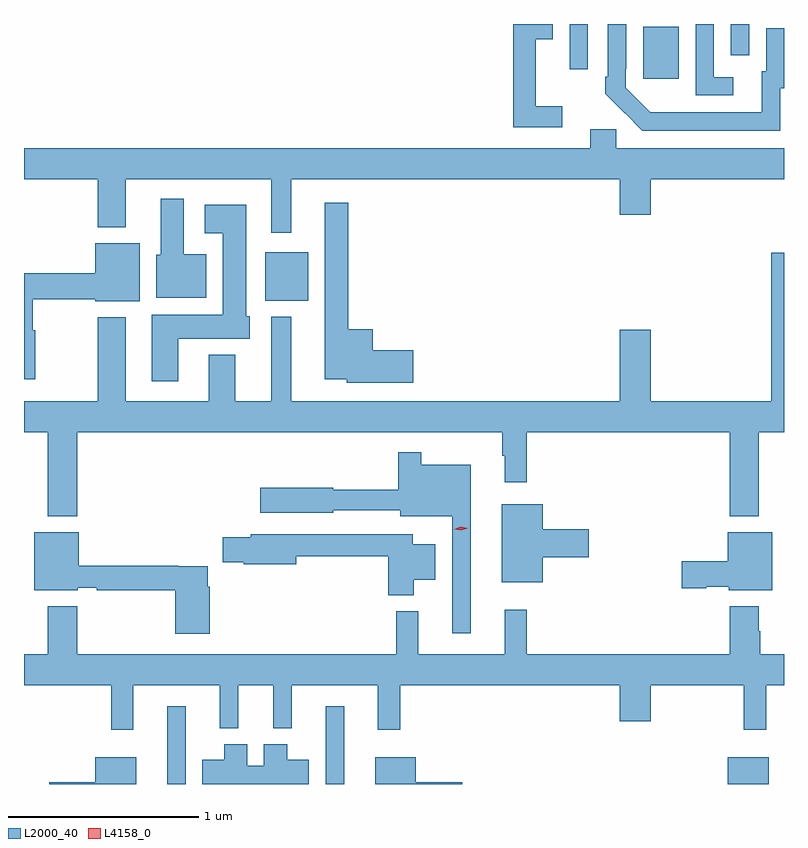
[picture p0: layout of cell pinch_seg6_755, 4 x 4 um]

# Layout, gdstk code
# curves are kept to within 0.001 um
import gdstk
lib = gdstk.Library(unit=1e-6, precision=1e-09)
def R(c, l, rs):  # rectangles x0, y0, x1, y1
    for r in rs: c.add(gdstk.rectangle(r[:2], r[2:], *l))
def P(c, l, *ps):  # polygons
    for p in ps: c.add(gdstk.Polygon(p, *l))
L2000_40 = (2000, 40)
L4158_0 = (4158, 0)

pinch_seg6_755 = lib.new_cell('pinch_seg6_755')
R(pinch_seg6_755, L2000_40, [(306.482,986.777,306.579,987.187), (307.317,986.777,307.414,987.187), (309.434,986.777,309.649,986.917), (306.998,989.321,307.225,989.575), (308.987,990.489,309.175,990.763), (308.601,990.54,308.697,990.777), (309.45,990.612,309.546,990.777)])
P(pinch_seg6_755, L2000_40, [(309.463,990.498),(309.36,990.498),(309.36,990.777),(309.264,990.777),(309.264,990.402),(309.463,990.402)],
  [(308.563,990.343),(308.423,990.343),(308.423,990.698),(308.512,990.698),(308.512,990.777),(308.305,990.777),(308.305,990.234),(308.563,990.234)],
  [(309.708,990.438),(309.729,990.438),(309.729,990.754),(309.635,990.754),(309.635,990.528),(309.611,990.528),(309.611,990.312),(309.024,990.313),(308.895,990.441),(308.895,990.541),(308.898,990.541),(308.898,990.777),(308.802,990.777),(308.802,990.499),(308.787,990.499),(308.787,990.411),(308.984,990.216),(309.708,990.216)],
  [(307.135,989.96),(308.864,989.96),(308.864,989.772),(309.028,989.772),(309.028,989.96),(309.729,989.96),(309.729,990.124),(308.847,990.124),(308.847,990.222),(308.708,990.222),(308.708,990.124),(305.729,990.124),(305.729,989.96),(306.118,989.96),(306.118,989.708),(306.265,989.708),(306.265,989.96),(307.031,989.96),(307.031,989.679),(307.135,989.679)],
  [(306.688,989.566),(306.571,989.566),(306.571,989.857),(306.449,989.857),(306.449,989.562),(306.425,989.562),(306.425,989.336),(306.688,989.336)],
  [(307.777,989.06),(307.564,989.06),(307.564,989.17),(307.435,989.17),(307.435,989.836),(307.313,989.836),(307.313,988.907),(307.428,988.907),(307.428,988.889),(307.777,988.889)],
  [(306.541,989.12),(306.916,989.12),(306.916,989.238),(306.898,989.238),(306.898,989.827),(306.681,989.827),(306.681,989.675),(306.776,989.675),(306.776,989.248),(306.401,989.248),(306.401,988.896),(306.541,988.896)],
  [(305.788,989.166),(305.776,989.166),(305.776,989.329),(306.104,989.329),(306.104,989.318),(306.337,989.318),(306.337,989.623),(306.104,989.623),(306.104,989.465),(305.729,989.465),(305.729,988.907),(305.788,988.907)],
  [(306.008,988.628),(308.247,988.628),(308.247,988.505),(308.258,988.505),(308.258,988.365),(308.375,988.365),(308.375,988.628),(309.443,988.628),(309.443,988.187),(309.595,988.187),(309.595,988.628),(309.729,988.628),(309.729,989.572),(309.662,989.572),(309.662,988.792),(309.028,988.792),(309.028,989.167),(308.864,989.167),(308.864,988.792),(307.135,988.792),(307.135,989.236),(307.031,989.236),(307.031,988.792),(306.841,988.792),(306.841,989.035),(306.701,989.035),(306.701,988.792),(306.265,988.792),(306.265,989.233),(306.118,989.233),(306.118,988.792),(305.729,988.792),(305.729,988.628),(305.855,988.628),(305.855,988.187),(306.008,988.187)],
  [(308.08,988.456),(307.819,988.456),(307.819,988.522),(307.698,988.522),(307.698,988.327),(307.356,988.327),(307.356,988.335),(306.972,988.335),(306.972,988.205),(307.356,988.205),(307.356,988.218),(307.709,988.218),(307.709,988.187),(307.983,988.187),(307.983,987.57),(308.08,987.57)],
  [(308.458,987.971),(308.701,987.971),(308.701,988.118),(308.458,988.118),(308.458,988.249),(308.243,988.249),(308.243,987.839),(308.458,987.839)],
  [(306.707,987.815),(306.695,987.815),(306.695,987.923),(306.54,987.923),(306.54,987.926),(306.016,987.926),(306.016,988.102),(305.783,988.102),(305.783,987.797),(306.012,987.797),(306.012,987.81),(306.112,987.81),(306.112,987.798),(306.524,987.798),(306.524,987.567),(306.707,987.567)],
  [(309.667,988.102),(309.434,988.102),(309.434,987.95),(309.192,987.95),(309.192,987.808),(309.321,987.808),(309.321,987.815),(309.438,987.815),(309.438,987.797),(309.667,987.797)],
  [(307.78,987.851),(307.894,987.851),(307.894,988.039),(307.774,988.039),(307.774,988.092),(306.923,988.092),(306.923,988.076),(306.774,988.076),(306.774,987.943),(306.886,987.943),(306.886,987.934),(307.162,987.934),(307.162,987.976),(307.646,987.976),(307.646,987.77),(307.78,987.77)],
  [(306.305,987.296),(306.758,987.296),(306.758,987.071),(306.857,987.071),(306.857,987.296),(307.04,987.296),(307.04,987.071),(307.139,987.071),(307.139,987.296),(307.592,987.296),(307.592,987.063),(307.709,987.063),(307.709,987.296),(308.864,987.296),(308.864,987.108),(309.028,987.108),(309.028,987.296),(309.517,987.296),(309.517,987.063),(309.635,987.063),(309.635,987.296),(309.729,987.296),(309.729,987.46),(309.603,987.46),(309.603,987.581),(309.595,987.581),(309.595,987.712),(309.443,987.712),(309.443,987.46),(308.375,987.46),(308.375,987.694),(308.258,987.694),(308.258,987.46),(307.805,987.46),(307.805,987.685),(307.687,987.685),(307.687,987.46),(306.008,987.46),(306.008,987.712),(305.855,987.712),(305.855,987.46),(305.729,987.46),(305.729,987.296),(306.187,987.296),(306.187,987.063),(306.305,987.063)],
  [(307.228,986.905),(307.114,986.905),(307.114,986.986),(306.992,986.986),(306.992,986.872),(306.904,986.872),(306.904,986.986),(306.782,986.986),(306.782,986.905),(306.668,986.905),(306.668,986.777),(307.228,986.777)],
  [(308.035,986.786),(307.792,986.786),(307.792,986.917),(307.577,986.917),(307.577,986.777),(308.035,986.777)],
  [(306.319,986.917),(306.104,986.917),(306.104,986.786),(305.862,986.786),(305.862,986.777),(306.319,986.777)])
P(pinch_seg6_755, L4158_0, [(308.03,988.112),(307.994,988.119),(307.993,988.119),(307.994,988.119),(308.028,988.132),(308.065,988.124),(308.065,988.124),(308.065,988.124)])

lib.write_gds('pinch_seg6_755.gds')
